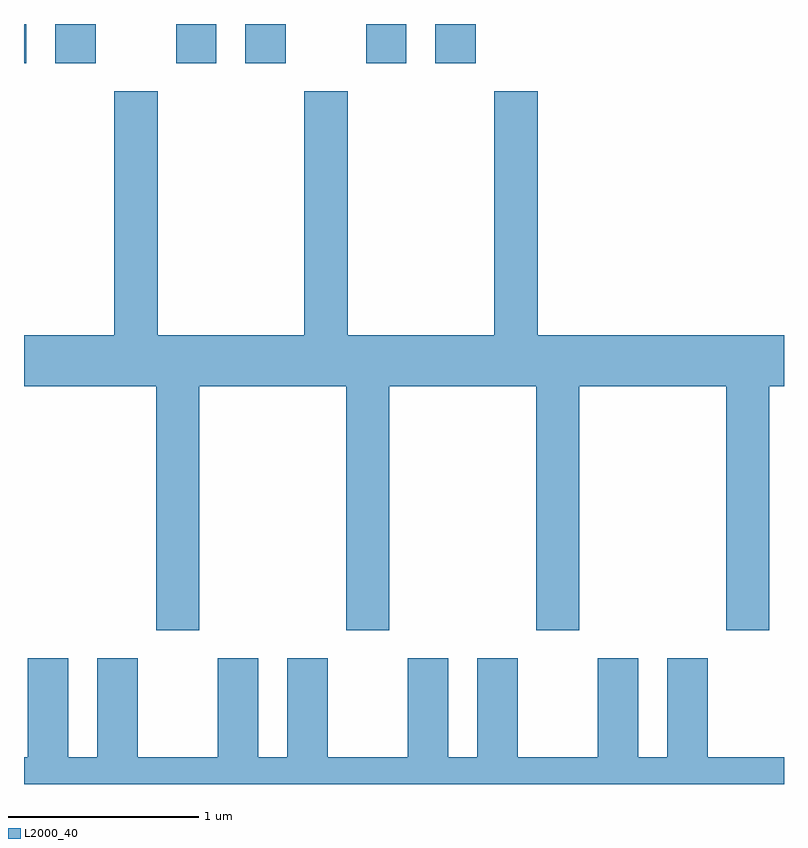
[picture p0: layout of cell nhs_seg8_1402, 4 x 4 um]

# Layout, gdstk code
import gdstk
lib = gdstk.Library(unit=1e-6, precision=1e-09)
def R(c, l, rs):  # rectangles x0, y0, x1, y1
    for r in rs: c.add(gdstk.rectangle(r[:2], r[2:], *l))
def P(c, l, *ps):  # polygons
    for p in ps: c.add(gdstk.Polygon(p, *l))
L2000_40 = (2000, 40)

nhs_seg8_1402 = lib.new_cell('nhs_seg8_1402')
R(nhs_seg8_1402, L2000_40, [(227.611,1818.136,227.624,1818.342), (227.776,1818.136,227.989,1818.342), (228.411,1818.136,228.624,1818.342), (228.776,1818.136,228.989,1818.342), (229.411,1818.136,229.624,1818.342), (229.776,1818.136,229.989,1818.342)])
P(nhs_seg8_1402, L2000_40, [(228.534,1816.436),(229.306,1816.436),(229.306,1815.151),(229.534,1815.151),(229.534,1816.436),(230.306,1816.436),(230.306,1815.151),(230.534,1815.151),(230.534,1816.436),(231.306,1816.436),(231.306,1815.151),(231.534,1815.151),(231.534,1816.436),(231.611,1816.436),(231.611,1816.704),(230.314,1816.704),(230.314,1817.989),(230.086,1817.989),(230.086,1816.704),(229.314,1816.704),(229.314,1817.989),(229.086,1817.989),(229.086,1816.704),(228.314,1816.704),(228.314,1817.989),(228.086,1817.989),(228.086,1816.704),(227.611,1816.704),(227.611,1816.436),(228.306,1816.436),(228.306,1815.151),(228.534,1815.151)],
  [(231.611,1814.484),(231.209,1814.484),(231.209,1815.004),(230.996,1815.004),(230.996,1814.484),(230.844,1814.484),(230.844,1815.004),(230.631,1815.004),(230.631,1814.484),(230.209,1814.484),(230.209,1815.004),(229.996,1815.004),(229.996,1814.484),(229.844,1814.484),(229.844,1815.004),(229.631,1815.004),(229.631,1814.484),(229.209,1814.484),(229.209,1815.004),(228.996,1815.004),(228.996,1814.484),(228.844,1814.484),(228.844,1815.004),(228.631,1815.004),(228.631,1814.484),(228.209,1814.484),(228.209,1815.004),(227.996,1815.004),(227.996,1814.484),(227.844,1814.484),(227.844,1815.004),(227.631,1815.004),(227.631,1814.484),(227.611,1814.484),(227.611,1814.342),(231.611,1814.342)])

lib.write_gds('nhs_seg8_1402.gds')
